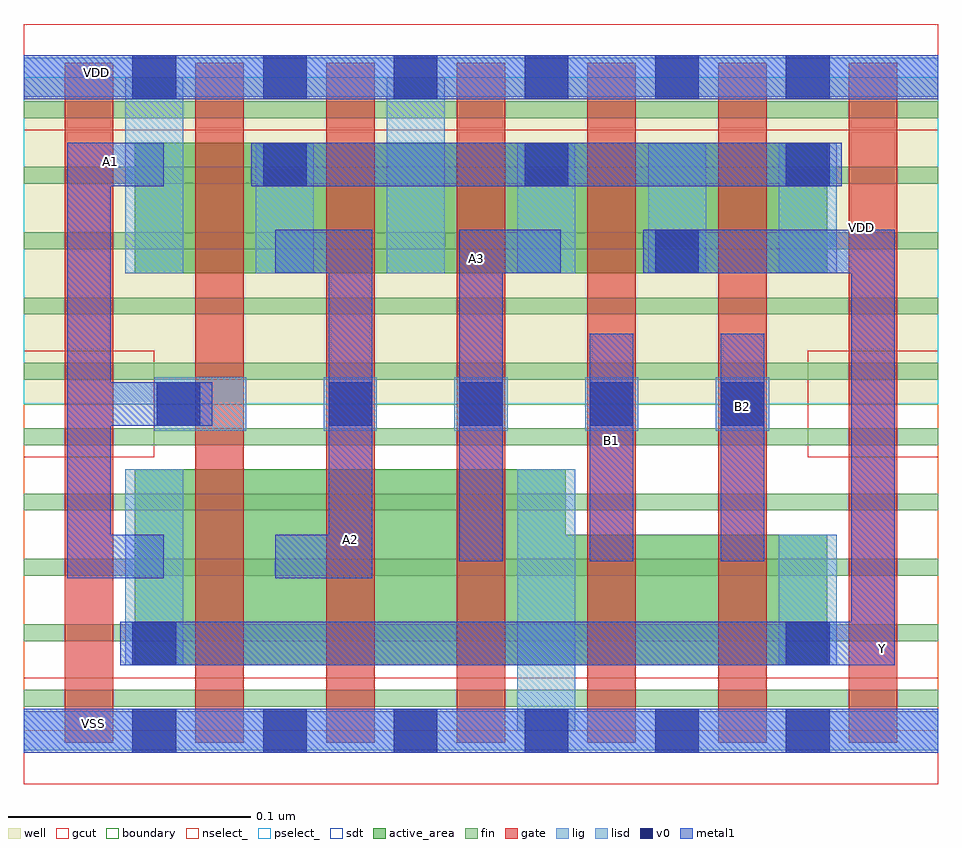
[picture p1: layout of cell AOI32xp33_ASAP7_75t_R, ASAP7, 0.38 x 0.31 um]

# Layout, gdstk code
import gdstk
lib = gdstk.Library(unit=1e-6, precision=1e-09)
def R(c, l, rs):  # rectangles x0, y0, x1, y1
    for r in rs: c.add(gdstk.rectangle(r[:2], r[2:], *l))
def A(c, l, x, y, w, h, nx, ny, dx, dy):  # array of equal rectangles
    R(c, l, [(x+i*dx, y+j*dy, x+i*dx+w, y+j*dy+h) for i in range(nx) for j in range(ny)])
def P(c, l, *ps):  # polygons
    for p in ps: c.add(gdstk.Polygon(p, *l))
well = (1, 0)
fin = (2, 0)
gate = (7, 0)
gcut = (10, 0)
active_area = (11, 0)
nselect_ = (12, 0)
pselect_ = (13, 0)
lig = (16, 0)
lisd = (17, 0)
v0 = (18, 0)
metal1 = (19, 0)
sdt = (88, 0)
boundary = (100, 0)

aoi32xp33_asap7_75t_r = lib.new_cell('AOI32xp33_ASAP7_75t_R')
R(aoi32xp33_asap7_75t_r, well, [(0,0.135,0.378,0.27)])
A(aoi32xp33_asap7_75t_r, fin, 0, 0.01, 0.378, 0.007, 1, 10, 0, 0.027)
A(aoi32xp33_asap7_75t_r, gate, 0.017, -0.005, 0.02, 0.281, 7, 1, 0.054, 0)
R(aoi32xp33_asap7_75t_r, gcut, [(0,-0.022,0.378,0.022), (0,0.113,0.054,0.157), (0.324,0.113,0.378,0.157), (0,0.248,0.378,0.292)])
R(aoi32xp33_asap7_75t_r, active_area, [(0.046,0.189,0.332,0.243)])
P(aoi32xp33_asap7_75t_r, active_area, [(0.046,0.027),(0.046,0.108),(0.224,0.108),(0.224,0.081),(0.332,0.081),(0.332,0.027)])
R(aoi32xp33_asap7_75t_r, nselect_, [(0,0,0.378,0.135)])
R(aoi32xp33_asap7_75t_r, pselect_, [(0,0.135,0.378,0.27)])
A(aoi32xp33_asap7_75t_r, lig, 0.124, 0.124, 0.022, 0.022, 4, 1, 0.054, 0)
R(aoi32xp33_asap7_75t_r, lig, [(0,-0.008,0.378,0.008), (0.054,0.124,0.092,0.146), (0,0.262,0.378,0.278)])
A(aoi32xp33_asap7_75t_r, lisd, 0.204, 0.189, 0.024, 0.054, 3, 1, 0.054, 0)
R(aoi32xp33_asap7_75t_r, lisd, [(0.204,0,0.228,0.108), (0.042,0.027,0.066,0.108), (0.312,0.027,0.336,0.081), (0.042,0.189,0.066,0.27), (0.096,0.189,0.12,0.243), (0.15,0.189,0.174,0.27)])
A(aoi32xp33_asap7_75t_r, v0, 0.045, -0.009, 0.018, 0.018, 6, 2, 0.054, 0.27)
A(aoi32xp33_asap7_75t_r, v0, 0.126, 0.126, 0.018, 0.018, 4, 1, 0.054, 0)
A(aoi32xp33_asap7_75t_r, v0, 0.099, 0.225, 0.018, 0.018, 3, 1, 0.108, 0)
R(aoi32xp33_asap7_75t_r, v0, [(0.045,0.027,0.063,0.045), (0.315,0.027,0.333,0.045), (0.055,0.126,0.073,0.144), (0.261,0.189,0.279,0.207)])
R(aoi32xp33_asap7_75t_r, metal1, [(0,-0.009,0.378,0.009), (0.234,0.07,0.252,0.164), (0.288,0.07,0.306,0.164), (0.094,0.225,0.338,0.243), (0,0.261,0.378,0.279)])
P(aoi32xp33_asap7_75t_r, metal1, [(0.04,0.027),(0.04,0.045),(0.342,0.045),(0.342,0.189),(0.256,0.189),(0.256,0.207),(0.36,0.207),(0.36,0.027)],
  [(0.18,0.07),(0.18,0.207),(0.222,0.207),(0.222,0.189),(0.198,0.189),(0.198,0.07)],
  [(0.104,0.063),(0.104,0.081),(0.126,0.081),(0.126,0.189),(0.104,0.189),(0.104,0.207),(0.144,0.207),(0.144,0.063)],
  [(0.018,0.063),(0.018,0.243),(0.058,0.243),(0.058,0.225),(0.036,0.225),(0.036,0.144),(0.078,0.144),(0.078,0.126),(0.036,0.126),(0.036,0.081),(0.058,0.081),(0.058,0.063)])
A(aoi32xp33_asap7_75t_r, sdt, 0.042, 0.189, 0.024, 0.054, 6, 1, 0.054, 0)
R(aoi32xp33_asap7_75t_r, sdt, [(0.042,0.027,0.066,0.108), (0.204,0.027,0.228,0.108), (0.312,0.027,0.336,0.081)])
R(aoi32xp33_asap7_75t_r, boundary, [(0,0,0.378,0.27)])
aoi32xp33_asap7_75t_r.add(gdstk.Label('VDD', (0.03,0.272), layer=19, texttype=251))
aoi32xp33_asap7_75t_r.add(gdstk.Label('VSS', (0.029,0.003), layer=19, texttype=251))
aoi32xp33_asap7_75t_r.add(gdstk.Label('A1', (0.036,0.235), layer=19, texttype=251))
aoi32xp33_asap7_75t_r.add(gdstk.Label('A2', (0.135,0.079), layer=19, texttype=251))
aoi32xp33_asap7_75t_r.add(gdstk.Label('A3', (0.187,0.195), layer=19, texttype=251))
aoi32xp33_asap7_75t_r.add(gdstk.Label('B1', (0.243,0.12), layer=19, texttype=251))
aoi32xp33_asap7_75t_r.add(gdstk.Label('B2', (0.297,0.134), layer=19, texttype=251))
aoi32xp33_asap7_75t_r.add(gdstk.Label('Y', (0.355,0.034), layer=19, texttype=251))
aoi32xp33_asap7_75t_r.add(gdstk.Label('VDD', (0.346,0.208), layer=1, texttype=251))
aoi32xp33_asap7_75t_r.add(gdstk.Label('VSS', (0.415,0.207), layer=3, texttype=251))

lib.write_gds('AOI32xp33_ASAP7_75t_R.gds')
